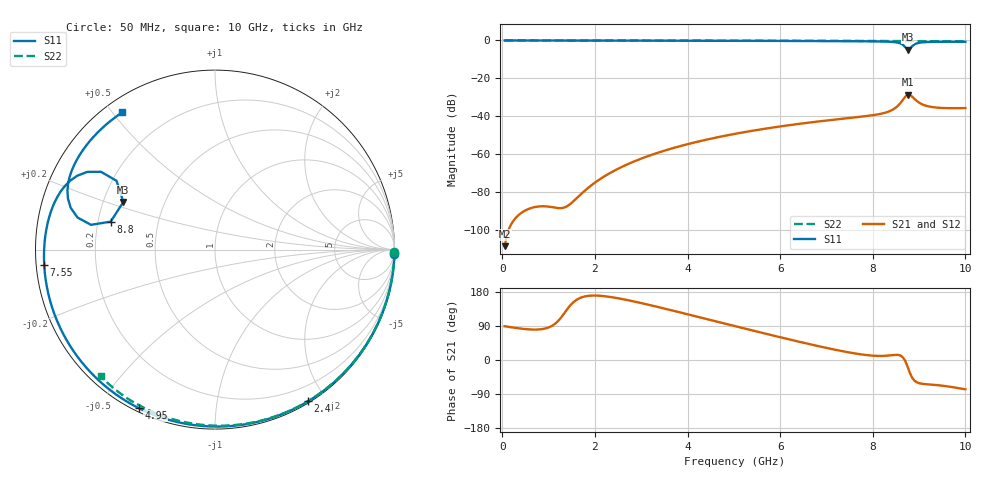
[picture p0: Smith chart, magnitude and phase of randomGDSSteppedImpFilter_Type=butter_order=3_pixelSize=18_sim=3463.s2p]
! freq	dB(S11)	phase(S11)	dB(S12)	phase(S12)
!  dB(S21)	phase(S21)	dB(S22)	phase(S22)
!S-par simulation data
#  GHz  S  DB  R 50
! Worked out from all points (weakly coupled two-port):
!   200 points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, 50 MHz to 10 GHz, reference 50 ohm
!   highest |S21| = -28.62 dB at 8.75 GHz (marker M1); lowest = -108.4 dB at 50 MHz (marker M2)
!   lowest |S11| = -4.8 dB at 8.75 GHz (marker M3), VSWR 3.71, Z = 14.2 + j11.3 ohm
!   |S11| at or under -10 dB: nowhere
!   |S22| runs from -0.4 to 0.0 dB; largest |S21 - S12| = 0
!   S11 on the Smith chart (normalised r, x): 50 MHz: 0, -91; 2.4 GHz: 0.02, -1.79; 4.95 GHz: 0.01, -0.63; 7.55 GHz: 0.02, -0.05; 8.8 GHz: 0.25, +0.12; 10 GHz: 0.05, +0.53
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0.05  -0.00 -1.3  -108.40 89.0  -108.40 89.0  -0.00 -0.8
0.85  -0.02 -21.2  -87.38 81.4  -87.38 81.4  -0.02 -12.9
1.75  -0.05 -43.1  -79.85 166.7  -79.85 166.7  -0.03 -26.3
2.05  -0.06 -50.3  -74.06 169.9  -74.06 169.9  -0.04 -30.8
2.4  -0.07 -58.5  -68.86 165.0  -68.86 165.0  -0.05 -35.9
3.4  -0.11 -81.5  -58.84 138.8  -58.84 138.8  -0.07 -50.1
4.15  -0.14 -98.2  -53.74 116.2  -53.74 116.2  -0.08 -60.5
4.95  -0.18 -115.8  -49.55 91.7  -49.55 91.7  -0.11 -71.3
5.05  -0.18 -117.9  -49.09 88.6  -49.09 88.6  -0.11 -72.6
5.85  -0.23 -135.4  -45.85 64.5  -45.85 64.5  -0.14 -82.9
6.7  -0.30 -154.4  -43.06 40.0  -43.06 40.0  -0.18 -93.5
7.55  -0.40 -174.8  -40.71 18.6  -40.71 18.6  -0.23 -103.8
8.35  -0.67 161.5  -37.40 11.9  -37.40 11.9  -0.29 -113.2
8.55  -1.20 151.8  -34.26 13.4  -34.26 13.4  -0.31 -115.5
8.65  -2.28 145.7  -31.33 7.1  -31.33 7.1  -0.32 -116.6
8.7  -3.49 145.1  -29.71 -2.3  -29.71 -2.3  -0.33 -117.2
8.75  -4.80 152.6  -28.62 -17.1  -28.62 -17.1  -0.33 -117.7
8.8  -4.41 165.0  -28.66 -33.7  -28.66 -33.7  -0.32 -118.3
8.9  -2.09 166.9  -30.80 -54.5  -30.80 -54.5  -0.33 -119.5
9.05  -1.06 158.3  -33.46 -62.5  -33.46 -62.5  -0.34 -121.2
9.35  -0.73 145.8  -35.31 -65.8  -35.31 -65.8  -0.37 -124.7
10  -0.70 124.0  -35.63 -77.4  -35.63 -77.4  -0.44 -132.1
